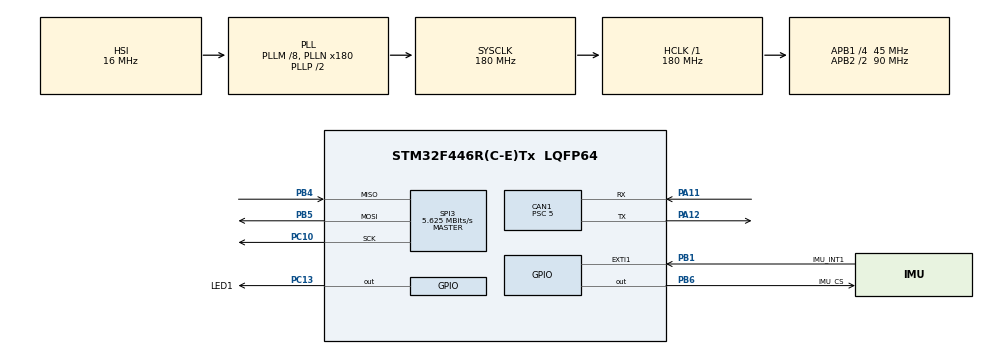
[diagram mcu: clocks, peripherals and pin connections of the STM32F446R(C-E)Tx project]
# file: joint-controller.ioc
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CAN1.ABOM=ENABLE
CAN1.BS1=CAN_BS1_6TQ
CAN1.BS2=CAN_BS2_2TQ
CAN1.CalculateBaudRate=1000000
CAN1.CalculateTimeBit=1000
CAN1.CalculateTimeQuantum=111.11111111111111
CAN1.NART=ENABLE
CAN1.Prescaler=5
Mcu.Family=STM32F4
Mcu.Name=STM32F446R(C-E)Tx
Mcu.Package=LQFP64
NVIC.EXTI1_IRQn=true\:0\:0\:false\:false\:true\:true\:true\:true
NVIC.PriorityGroup=NVIC_PRIORITYGROUP_4
PA11.Mode=CAN_Activate
PA11.Signal=CAN1_RX
PA12.Mode=CAN_Activate
PA12.Signal=CAN1_TX
PA13.Mode=Serial_Wire
PA13.Signal=SYS_JTMS-SWDIO
PA14.Mode=Serial_Wire
PA14.Signal=SYS_JTCK-SWCLK
PB1.GPIO_Label=IMU_INT1
PB1.GPIO_PuPd=GPIO_PULLDOWN
PB1.Signal=GPXTI1
PB3.Signal=SYS_JTDO-SWO
PB4.Mode=Full_Duplex_Master
PB4.Signal=SPI3_MISO
PB5.Mode=Full_Duplex_Master
PB5.Signal=SPI3_MOSI
PB6.GPIO_Label=IMU_CS
PB6.PinState=GPIO_PIN_SET
PB6.Signal=GPIO_Output
PC10.Mode=Full_Duplex_Master
PC10.Signal=SPI3_SCK
PC13.GPIO_Label=LED1
PC13.Signal=GPIO_Output
ProjectManager.HeapSize=0x200
ProjectManager.StackSize=0x400
ProjectManager.TargetToolchain=STM32CubeIDE
RCC.AHBFreq_Value=180000000
RCC.APB1CLKDivider=RCC_HCLK_DIV4
RCC.APB1Freq_Value=45000000
RCC.APB1TimFreq_Value=90000000
RCC.APB2CLKDivider=RCC_HCLK_DIV2
RCC.APB2Freq_Value=90000000
RCC.APB2TimFreq_Value=180000000
RCC.CortexFreq_Value=180000000
RCC.HCLKFreq_Value=180000000
RCC.PLLM=8
RCC.PLLN=180
RCC.SYSCLKFreq_VALUE=180000000
RCC.SYSCLKSource=RCC_SYSCLKSOURCE_PLLCLK
RCC.USBFreq_Value=180000000
RCC.VCOOutputFreq_Value=360000000
SPI3.BaudRatePrescaler=SPI_BAUDRATEPRESCALER_8
SPI3.CLKPhase=SPI_PHASE_2EDGE
SPI3.CLKPolarity=SPI_POLARITY_HIGH
SPI3.CalculateBaudRate=5.625 MBits/s
SPI3.Direction=SPI_DIRECTION_2LINES
SPI3.Mode=SPI_MODE_MASTER
SPI3.VirtualType=VM_MASTER
board=custom

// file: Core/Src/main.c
/* USER CODE BEGIN Header */
/**
  ******************************************************************************
  * @file           : main.c
  * @brief          : Main program body
  ******************************************************************************
  * @attention
  *
  * Copyright (c) 2026 STMicroelectronics.
  * All rights reserved.
  *
  * This software is licensed under terms that can be found in the LICENSE file
  * in the root directory of this software component.
  * If no LICENSE file comes with this software, it is provided AS-IS.
  *
  ******************************************************************************
  */
/* USER CODE END Header */
#include "main.h"
#include "can.h"
#include "spi.h"
#include "gpio.h"

/* USER CODE BEGIN Includes */
#include "can_common.h"
#include "can_motor.h"
#include "can/ak70_9.h"
#include "lsm6dso32_reg.h"
#include "lsm6dso32_port.h"

/* USER CODE END Includes */

/* USER CODE BEGIN PD */
/* Which joint this board is. Set it here, or per board with a preprocessor
   symbol such as NODE_ID=CAN_NODE_RIGHT_HIP (one CubeIDE build configuration
   per board). A plain number 1..4 also works */
#ifndef NODE_ID
#define NODE_ID              CAN_NODE_RIGHT_KNEE
#endif

#if (NODE_ID < CAN_NODE_LEFT_HIP) || (NODE_ID > CAN_NODE_RIGHT_KNEE)
#error "NODE_ID must be one of the CAN_NODE_* joints (1..4)"
#endif

/* Same 11-bit layout as the joint controller's can_common.h:
     bits [10:7] message type, [6:4] source node, [3:0] destination (0 = Pi)
   Payload is this project's raw-count format, not the joint controller's */
/* Motor addresses confirmed during the Sensing bench test.
   Override JOINT_MOTOR_ID explicitly for a different motor or 0 for IMU-only. */
#ifndef JOINT_MOTOR_ID
#if NODE_ID == CAN_NODE_LEFT_HIP
#define JOINT_MOTOR_ID 104
#elif NODE_ID == CAN_NODE_RIGHT_HIP
#define JOINT_MOTOR_ID 105
#elif NODE_ID == CAN_NODE_LEFT_KNEE
#define JOINT_MOTOR_ID 106
#elif NODE_ID == CAN_NODE_RIGHT_KNEE
#define JOINT_MOTOR_ID 107
#endif
#endif
#if JOINT_MOTOR_ID < 0 || JOINT_MOTOR_ID > 255
#error "JOINT_MOTOR_ID must fit in one CAN address byte"
#endif
#define CURRENT_LIMIT_A       5.0f
#define TORQUE_PER_AMP        (0.159f * 9.0f)
#define CURRENT_REFRESH_MS    50U
#define MOTOR_TELEMETRY_MS    10U
#define COMMAND_TIMEOUT_MS    200U

#define IMU_ACCEL_CAN_ID     CAN_BUILD_ID(CAN_MSG_IMU_ACCEL, NODE_ID, CAN_NODE_PI)
#define IMU_GYRO_CAN_ID      CAN_BUILD_ID(CAN_MSG_IMU_GYRO, NODE_ID, CAN_NODE_PI)

#define CAN_TX_TIMEOUT_MS    3U       // An 8-byte frame takes ~0.13 ms; retries after lost arbitration fit well inside this
#define NODE_BLINK_ON_MS     150U     // Startup: LED1 flashes NODE_ID times so you can tell boards apart
#define NODE_BLINK_OFF_MS    350U
#define IMU_BOOT_TIME_MS     35U      // Datasheet turn-on time
#define IMU_RESET_TIMEOUT_MS 100U     // Ceiling on the software-reset flag poll
#define IMU_STALE_TIMEOUT_MS 100U     // LED1 goes solid if no sample arrives for this long
#define LED_BLINK_MS         500U     // LED1 toggle period while pairs are being ACKed
#define ERROR_BLINK_LOOPS    2000000U // Busy-wait count per LED toggle in Error_Handler (roughly 0.1 s at 180 MHz)

/* USER CODE END PD */

/* USER CODE BEGIN PV */
/* Must outlive the ctx: lsm6dso32_spi_ctx() keeps a pointer to it. */
static lsm6dso32_spi_bus_t imu_bus = { &hspi3, IMU_CS_GPIO_Port, IMU_CS_Pin };
static stmdev_ctx_t imu;

static uint16_t imu_sequence;
static uint32_t last_sample_tick;
static uint32_t last_blink_tick;

/* Set by the INT1 (gyro data-ready) EXTI callback, cleared by imu_stream() */
static volatile uint8_t imu_drdy;

/* Inspect these in the debugger. CAN ESR includes LEC, TEC, REC and bus-off. */
volatile const uint8_t node_id = NODE_ID; // Confirms which node a connected board was built as
volatile uint8_t  imu_whoami;
volatile uint32_t imu_drdy_overruns; // INT1 fired again before the last sample was taken
volatile uint32_t imu_samples;
volatile uint32_t imu_read_errors;
volatile uint32_t can_pairs_sent;
volatile uint32_t can_pairs_dropped;
volatile uint32_t can_last_esr;
volatile uint32_t can_last_tsr;

/* USER CODE END PV */

void SystemClock_Config(void);
/* USER CODE BEGIN PFP */
static void node_id_blink(void);
static void imu_init(void);
static void imu_stream(void);
static void imu_pack_frame(uint8_t *out, uint16_t sequence, const int16_t *axes);
static HAL_StatusTypeDef CAN_Send_Frame(uint32_t id, const uint8_t *data);

/* USER CODE END PFP */

/* USER CODE BEGIN 0 */

static float requested_current;
static uint32_t last_command_tick;
static uint32_t last_current_tick;
static uint8_t current_due;
static uint8_t estop_latched;
static uint8_t reset_pending;
static uint8_t setpoint_due = 1;
static uint32_t last_setpoint_tick;

static void stop_motor(void)
{
  /* Cancel queued nonzero commands, including a mailbox retrying on bus loss. */
  HAL_CAN_AbortTxRequest(&hcan1, CAN_TX_MAILBOX0 | CAN_TX_MAILBOX1 | CAN_TX_MAILBOX2);
  requested_current = 0;
  current_due = 1;
  setpoint_due = 1;
}

/* Feedback and MOTOR_STATUS use the same fixed-point scales with opposite
   byte order. Forward the integer samples exactly, including fault codes. */
static void motor_feedback(const CanFrame *frame, uint32_t now)
{
  static uint8_t origin_set;
  static uint8_t status_sent;
  static uint8_t last_error;
  static uint32_t last_status_tick;
  if (frame->id != ak70_9_feedback_id(JOINT_MOTOR_ID) || frame->dlc != 8) return;
  if (!origin_set)
    origin_set = comm_can_set_origin(JOINT_MOTOR_ID, 0);
  if (status_sent && now - last_status_tick < MOTOR_TELEMETRY_MS && last_error == frame->data[7]) return;
  uint8_t status[8] = {
    frame->data[1], frame->data[0], frame->data[3], frame->data[2],
    frame->data[5], frame->data[4], frame->data[6], frame->data[7]
  };
  if (can_send_std(CAN_BUILD_ID(CAN_MSG_MOTOR_STATUS, NODE_ID, CAN_NODE_PI), status, 8)) {
    status_sent = 1;
    last_error = status[7];
    last_status_tick = now;
  }
}

static void motor_service(void)
{
  if (!JOINT_MOTOR_ID) return;
  CanFrame frame;
  uint32_t now = HAL_GetTick();
  if (__HAL_CAN_GET_FLAG(&hcan1, CAN_FLAG_FOV0)) {
    __HAL_CAN_CLEAR_FLAG(&hcan1, CAN_FLAG_FOV0);
    estop_latched = 1;
    stop_motor();
  }
  for (unsigned n = 0; n < 6 && can_recv(&frame); ++n) {
    if (frame.is_extended) {
      if (!reset_pending) motor_feedback(&frame, now);
      continue;
    }
    if (frame.id == CAN_ID_GLOBAL_RESET || can_get_msg_type(frame.id) == CAN_MSG_ESTOP) {
      reset_pending |= frame.id == CAN_ID_GLOBAL_RESET;
      estop_latched = 1;
      stop_motor();
    } else if (!estop_latched && frame.dlc == 2) {
      float torque;
      if (can_parse_torque_cmd(&frame, &torque)) {
        if (torque == 0) {
          stop_motor();
        } else {
          requested_current = torque / TORQUE_PER_AMP;
          if (requested_current > CURRENT_LIMIT_A) requested_current = CURRENT_LIMIT_A;
          if (requested_current < -CURRENT_LIMIT_A) requested_current = -CURRENT_LIMIT_A;
          current_due = 1;
        }
        last_command_tick = now;
      }
    }
  }
  if (requested_current && now - last_command_tick >= COMMAND_TIMEOUT_MS) stop_motor();
  if (current_due || (requested_current && now - last_current_tick >= CURRENT_REFRESH_MS)) {
    if (comm_can_set_current(JOINT_MOTOR_ID, requested_current)) {
      current_due = 0;
      last_current_tick = now;
    }
  }
  /* Desired post-clamp current, not measured current or a motor acknowledgement.
     Match the driver's int32 milliamps conversion, but use network API LE order.
     Try the motor command first; a full mailbox retries telemetry next iteration.
     Reset must not wait for diagnostic traffic. */
  if (!reset_pending && (setpoint_due || now - last_setpoint_tick >= MOTOR_TELEMETRY_MS)) {
    uint32_t milliamps = (uint32_t)(int32_t)(requested_current * 1000.0f);
    uint8_t data[4] = {milliamps, milliamps >> 8, milliamps >> 16, milliamps >> 24};
    if (can_send_std(CAN_BUILD_ID(CAN_MSG_CURRENT_SETPOINT, NODE_ID, CAN_NODE_PI), data, 4)) {
      setpoint_due = 0;
      last_setpoint_tick = now;
    }
  }
  if (reset_pending && !current_due && HAL_CAN_GetTxMailboxesFreeLevel(&hcan1) == 3)
    NVIC_SystemReset();
}

/**
  * @brief  Data-ready interrupt from the sensor's INT1 pin. Only raises a
  *         flag: SPI and CAN work stays in the main loop.
  * @param  GPIO_Pin  Pin whose EXTI line fired
  * @retval None
  */
void HAL_GPIO_EXTI_Callback(uint16_t GPIO_Pin)
{
  if (GPIO_Pin == IMU_INT1_Pin) {
    if (imu_drdy)
      imu_drdy_overruns++;
    imu_drdy = 1;
  }
}

/**
  * @brief  Flashes LED1 NODE_ID times, then leaves it off. Run once at
  *         startup: with four identical PCBs, this is how you check which
  *         firmware build a board is running without a debugger. A fixed
  *         count, so it cannot be mistaken for Error_Handler's endless
  *         fast blink.
  * @retval None
  */
static void node_id_blink(void)
{
  /* Reads node_id rather than NODE_ID so the linker keeps it for the debugger */
  for (uint32_t i = 0; i < node_id; i++) {
    HAL_GPIO_WritePin(LED1_GPIO_Port, LED1_Pin, GPIO_PIN_SET);
    HAL_Delay(NODE_BLINK_ON_MS);
    HAL_GPIO_WritePin(LED1_GPIO_Port, LED1_Pin, GPIO_PIN_RESET);
    HAL_Delay(NODE_BLINK_OFF_MS);
  }
}

/**
  * @brief  Brings the LSM6DSO32 up on SPI3: confirms the sensor is responsive,
  *         restores a known register state, locks the bus to SPI, then sets
  *         the output ranges and data rates.
  * @retval None (traps in Error_Handler if any step fails)
  */
static void imu_init(void)
{
  uint8_t whoami = 0;
  uint8_t rst = 1;

  /* Constructor drives the chip select line idle-high */
  imu = lsm6dso32_spi_ctx(&imu_bus);

  /* Allow sensor turn-on time before the first transaction */
  HAL_Delay(IMU_BOOT_TIME_MS);

  /* Read imu_whoami in the debugger -- on a new board the value points at the
     fault:
       0x00        MISO stuck low: not connected, or sensor not driving it
       0xFF        MISO floating high: CS not reaching the sensor, or no power
       0xD8 / 0x36 0x6C shifted by a bit: stray clock edge, check CPOL/CPHA
       other       wrong part, or a short on the bus */
  int32_t id_status = lsm6dso32_device_id_get(&imu, &whoami);

  imu_whoami = whoami;

  if (id_status != 0 || whoami != LSM6DSO32_ID)
    Error_Handler();

  /* Software reset, then wait for sensor to clear the flag. Bounded so a bus
     dropout here traps instead of hanging silently */
  if (lsm6dso32_reset_set(&imu, PROPERTY_ENABLE) != 0)
    Error_Handler();

  uint32_t reset_start = HAL_GetTick();

  do {
    if (lsm6dso32_reset_get(&imu, &rst) != 0 ||
        HAL_GetTick() - reset_start >= IMU_RESET_TIMEOUT_MS)
      Error_Handler();
  } while (rst);

  /* Disable I2C and set the 4-wire mode for SPI. With block data update on,
     output registers are not updated until both MSB and LSB have been read.
     Scale factors in the README must match these ranges */
  if (lsm6dso32_i2c_interface_set(&imu, LSM6DSO32_I2C_DISABLE) != 0 ||
      lsm6dso32_spi_mode_set(&imu, LSM6DSO32_SPI_4_WIRE) != 0 ||
      lsm6dso32_auto_increment_set(&imu, PROPERTY_ENABLE) != 0 ||
      lsm6dso32_block_data_update_set(&imu, PROPERTY_ENABLE) != 0 ||
      lsm6dso32_xl_full_scale_set(&imu, LSM6DSO32_16g) != 0 ||
      lsm6dso32_gy_full_scale_set(&imu, LSM6DSO32_2000dps) != 0 ||
      lsm6dso32_xl_data_rate_set(&imu, LSM6DSO32_XL_ODR_417Hz_HIGH_PERF) != 0 ||
      lsm6dso32_gy_data_rate_set(&imu, LSM6DSO32_GY_ODR_417Hz_HIGH_PERF) != 0)
    Error_Handler();

  /* Low-pass the accelerometer with LPF2 (corner ODR/20, ~21 Hz at 417 Hz) and
     the gyro with LPF1 (AGGRESSIVE is 24.6 Hz at 417 Hz, see the LPF1 table in
     the datasheet). Both corners depend on the ODR, so revisit them if it
     changes. Settling mask suppresses the filter transient after reset */
  if (lsm6dso32_xl_filter_lp2_set(&imu, PROPERTY_ENABLE) != 0 ||
      lsm6dso32_xl_hp_path_on_out_set(&imu, LSM6DSO32_LP_ODR_DIV_20) != 0 ||
      lsm6dso32_gy_filter_lp1_set(&imu, PROPERTY_ENABLE) != 0 ||
      lsm6dso32_gy_lp1_bandwidth_set(&imu, LSM6DSO32_AGGRESSIVE) != 0 ||
      lsm6dso32_filter_settling_mask_set(&imu, PROPERTY_ENABLE) != 0)
    Error_Handler();

  /* Route only gyro data-ready to INT1 (routing drdy_xl too would give two
     edges per sample, since the two paths are not bit-aligned). Pulsed rather
     than latched, so a missed edge cannot leave the line stuck high */
  lsm6dso32_pin_int1_route_t int1 = {0};

  int1.int1_ctrl.int1_drdy_g = PROPERTY_ENABLE;

  if (lsm6dso32_pin_int1_route_set(&imu, &int1) != 0 ||
      lsm6dso32_data_ready_mode_set(&imu, LSM6DSO32_DRDY_PULSED) != 0)
    Error_Handler();
}

/**
  * @brief  Sends one accel frame and one gyro frame per INT1 data-ready
  *         interrupt. Returns immediately when the flag is clear, so the
  *         sensor sets the pace and no SPI traffic happens until a sample
  *         actually exists.
  *
  *         LED1 toggles every LED_BLINK_MS while pairs are being ACKed. It is
  *         solid on after a failed send or read, or if samples stop arriving.
  * @retval None
  */
static void imu_stream(void)
{
  int16_t raw_xl[3];
  int16_t raw_gy[3];
  uint8_t xl_frame[8];
  uint8_t gy_frame[8];

  /* No interrupt yet. SysTick still wakes the loop every 1 ms, so a dead
     INT1 line or stalled sensor is caught here */
  if (!imu_drdy) {
    if (HAL_GetTick() - last_sample_tick >= IMU_STALE_TIMEOUT_MS)
      HAL_GPIO_WritePin(LED1_GPIO_Port, LED1_Pin, GPIO_PIN_SET);
    return;
  }
  imu_drdy = 0;

  /* Reading the output registers is what clears the data-ready flags and
     releases the BDU hold for the next sample. Failed reads are never sent */
  if (lsm6dso32_acceleration_raw_get(&imu, raw_xl) != 0 ||
      lsm6dso32_angular_rate_raw_get(&imu, raw_gy) != 0) {
    imu_read_errors++;
    HAL_GPIO_WritePin(LED1_GPIO_Port, LED1_Pin, GPIO_PIN_SET);
    return;
  }

  imu_samples++;
  last_sample_tick = HAL_GetTick();

  imu_pack_frame(xl_frame, imu_sequence, raw_xl);
  imu_pack_frame(gy_frame, imu_sequence, raw_gy);
  imu_sequence++; // Advance even on loss so the receiver can count missing pairs

  if (CAN_Send_Frame(IMU_ACCEL_CAN_ID, xl_frame) == HAL_OK &&
      CAN_Send_Frame(IMU_GYRO_CAN_ID, gy_frame) == HAL_OK) {
    can_pairs_sent++;

    if (HAL_GetTick() - last_blink_tick >= LED_BLINK_MS) {
      last_blink_tick = HAL_GetTick();
      HAL_GPIO_TogglePin(LED1_GPIO_Port, LED1_Pin);
    }
  } else {
    can_pairs_dropped++;
    HAL_GPIO_WritePin(LED1_GPIO_Port, LED1_Pin, GPIO_PIN_SET);
  }
}

/**
  * @brief  Packs one reading into a CAN payload, all fields little endian:
  *           bytes 0..1  uint16 sequence
  *           bytes 2..7  int16 X, Y, Z in raw sensor counts
  * @retval None
  */
static void imu_pack_frame(uint8_t *out, uint16_t sequence, const int16_t *axes)
{
  out[0] = (uint8_t)sequence;
  out[1] = (uint8_t)(sequence >> 8);

  for (int i = 0; i < 3; i++) {
    uint16_t axis = (uint16_t)axes[i];

    out[2 + (2 * i)] = (uint8_t)axis;
    out[3 + (2 * i)] = (uint8_t)(axis >> 8);
  }
}

/**
  * @brief  Sends one standard-ID, 8-byte frame and waits for it to finish.
  *         Automatic retransmission is on (NART = 0), so the hardware keeps
  *         retrying after lost arbitration or a bus error. CAN_TX_TIMEOUT_MS
  *         bounds those retries, e.g. when no other node is powered to ACK.
  *         CAN TX interrupts must stay off alongside this polling.
  * @retval HAL_OK only if another node ACKed the frame. On a shared bus that
  *         can be another IMU board, so it does not prove the Pi received it
  */
static HAL_StatusTypeDef CAN_Send_Frame(uint32_t id, const uint8_t *data)
{
  CAN_TxHeaderTypeDef TxHeader = {0};
  uint32_t TxMailbox = 0;

  TxHeader.StdId = id;
  TxHeader.IDE   = CAN_ID_STD;
  TxHeader.RTR   = CAN_RTR_DATA;
  TxHeader.DLC   = 8;

  // Queue CAN frame if there's a free mailbox
  if (HAL_CAN_GetTxMailboxesFreeLevel(&hcan1) == 0 ||
      HAL_CAN_AddTxMessage(&hcan1, &TxHeader, data, &TxMailbox) != HAL_OK)
    return HAL_ERROR;

  // Wait for the transmission (including any hardware retries) to finish
  uint32_t start = HAL_GetTick();

  while (HAL_CAN_IsTxMessagePending(&hcan1, TxMailbox)) {
    if (HAL_GetTick() - start >= CAN_TX_TIMEOUT_MS) {
      HAL_CAN_AbortTxRequest(&hcan1, TxMailbox);
      can_last_esr = hcan1.Instance->ESR;
      can_last_tsr = hcan1.Instance->TSR;
      return HAL_TIMEOUT;
    }
  }

  // TXOK is only set if the frame went out and was ACKed by another node
  uint32_t txok_bit = (TxMailbox == CAN_TX_MAILBOX0) ? CAN_TSR_TXOK0 :
                      (TxMailbox == CAN_TX_MAILBOX1) ? CAN_TSR_TXOK1 : CAN_TSR_TXOK2;
  uint32_t rqcp_bit = (TxMailbox == CAN_TX_MAILBOX0) ? CAN_TSR_RQCP0 :
                      (TxMailbox == CAN_TX_MAILBOX1) ? CAN_TSR_RQCP1 : CAN_TSR_RQCP2;

  can_last_esr = hcan1.Instance->ESR;
  can_last_tsr = hcan1.Instance->TSR;

  // Writing RQCP clears this mailbox's flags, so can_last_tsr only ever shows the latest attempt
  hcan1.Instance->TSR = rqcp_bit;

  return (can_last_tsr & txok_bit) ? HAL_OK : HAL_ERROR;
}

/* USER CODE END 0 */

int main(void)
{

  /* MCU Configuration--------------------------------------------------------*/

  /* Reset of all peripherals, Initializes the Flash interface and the Systick. */
  HAL_Init();

  /* Configure the system clock */
  SystemClock_Config();

  /* Initialize all configured peripherals */
  MX_GPIO_Init();
  MX_CAN1_Init();
  MX_SPI3_Init();
  /* USER CODE BEGIN 2 */
  node_id_blink();
  imu_init();

  if (!can_common_init(&hcan1, NODE_ID))
    Error_Handler();

  if (JOINT_MOTOR_ID && !can_set_motor_filter(JOINT_MOTOR_ID)) Error_Handler();

  /* Start the stale-sample clock here: the gyro's turn-on time alone could
     otherwise read as a stalled stream on the first pass */
  last_sample_tick = HAL_GetTick();
  last_blink_tick = last_sample_tick;

  /* USER CODE END 2 */

  /* Infinite loop */
  while (1)
  {

    /* USER CODE BEGIN 3 */
    /* Sleep until the next interrupt (INT1 or SysTick). PRIMASK closes the
       window where INT1 could fire between the check and the WFI: a pending
       IRQ still wakes WFI with PRIMASK set, and runs once it is cleared */
    __disable_irq();
    if (!imu_drdy)
      __WFI();
    __enable_irq();

    motor_service();
    if (!reset_pending) imu_stream();
  }
  /* USER CODE END 3 */
}

void SystemClock_Config(void)
{
  RCC_OscInitTypeDef RCC_OscInitStruct = {0};
  RCC_ClkInitTypeDef RCC_ClkInitStruct = {0};

  /** Configure the main internal regulator output voltage
  */
  __HAL_RCC_PWR_CLK_ENABLE();
  __HAL_PWR_VOLTAGESCALING_CONFIG(PWR_REGULATOR_VOLTAGE_SCALE1);

  /** Initializes the RCC Oscillators according to the specified parameters
  * in the RCC_OscInitTypeDef structure.
  */
  RCC_OscInitStruct.OscillatorType = RCC_OSCILLATORTYPE_HSI;
  RCC_OscInitStruct.HSIState = RCC_HSI_ON;
  RCC_OscInitStruct.HSICalibrationValue = RCC_HSICALIBRATION_DEFAULT;
  RCC_OscInitStruct.PLL.PLLState = RCC_PLL_ON;
  RCC_OscInitStruct.PLL.PLLSource = RCC_PLLSOURCE_HSI;
  RCC_OscInitStruct.PLL.PLLM = 8;
  RCC_OscInitStruct.PLL.PLLN = 180;
  RCC_OscInitStruct.PLL.PLLP = RCC_PLLP_DIV2;
  RCC_OscInitStruct.PLL.PLLQ = 2;
  RCC_OscInitStruct.PLL.PLLR = 2;
  if (HAL_RCC_OscConfig(&RCC_OscInitStruct) != HAL_OK)
  {
    Error_Handler();
  }

  /** Activate the Over-Drive mode
  */
  if (HAL_PWREx_EnableOverDrive() != HAL_OK)
  {
    Error_Handler();
  }

  /** Initializes the CPU, AHB and APB buses clocks
  */
  RCC_ClkInitStruct.ClockType = RCC_CLOCKTYPE_HCLK|RCC_CLOCKTYPE_SYSCLK
                              |RCC_CLOCKTYPE_PCLK1|RCC_CLOCKTYPE_PCLK2;
  RCC_ClkInitStruct.SYSCLKSource = RCC_SYSCLKSOURCE_PLLCLK;
  RCC_ClkInitStruct.AHBCLKDivider = RCC_SYSCLK_DIV1;
  RCC_ClkInitStruct.APB1CLKDivider = RCC_HCLK_DIV4;
  RCC_ClkInitStruct.APB2CLKDivider = RCC_HCLK_DIV2;

  if (HAL_RCC_ClockConfig(&RCC_ClkInitStruct, FLASH_LATENCY_5) != HAL_OK)
  {
    Error_Handler();
  }
}

void Error_Handler(void)
{
  /* USER CODE BEGIN Error_Handler_Debug */
  /* User can add his own implementation to report the HAL error return state */
  __disable_irq();
  while (1)
  {
    // Fast blink so startup errors are distinguishable from a solid "not sending" LED.
    // Busy-wait because interrupts are off, so HAL_Delay() would hang.
    HAL_GPIO_TogglePin(LED1_GPIO_Port, LED1_Pin);
    for (volatile uint32_t i = 0; i < ERROR_BLINK_LOOPS; i++);
  }
  /* USER CODE END Error_Handler_Debug */
}
